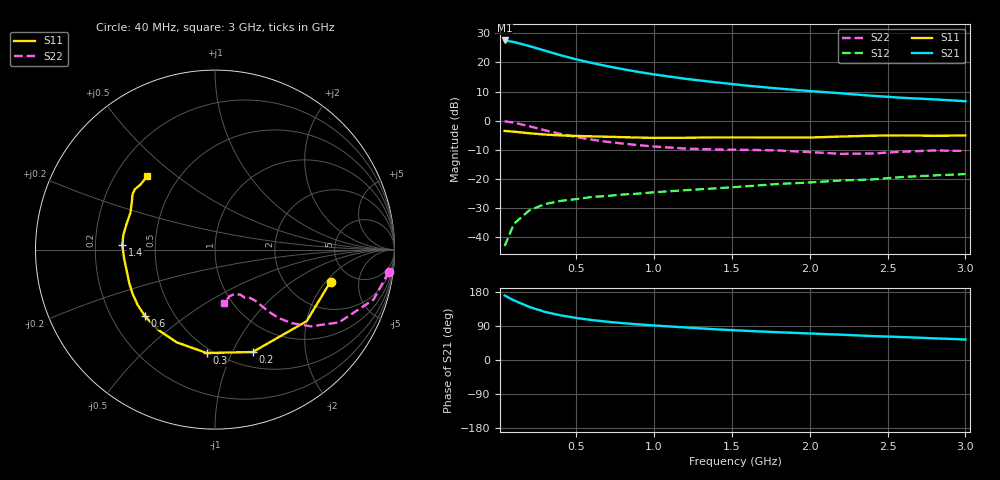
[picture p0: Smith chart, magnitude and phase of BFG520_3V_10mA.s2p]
! Filename:  BFG520C.S2P  Version:  2.1
! Philips part #: BFG520  Date: Feb 1992
! Bias condition: Vce=3V, Ic=10mA
! IN LINE PINNING: same data as with cross emitter pinning.
#  MHz  S  MA  R  50
! Freq  S11  S21  S12  S22  !GUM [dB]
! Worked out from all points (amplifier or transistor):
!   21 points, 40 MHz to 3 GHz, reference 50 ohm
!   highest |S21| = 27.6 dB at 40 MHz (marker M1)
!   |S21| within 3 dB of that: start of sweep to 267.5 MHz
!   unconditionally stable (mu >= 1): 1.261 GHz to end of sweep
!   at 300 MHz: K = 0.32, MSG = 26.3 dB, |S12| = -28.6 dB
!   at 1 GHz: K = 0.88, MSG = 20.2 dB, |S12| = -24.6 dB
!   at 3 GHz: K = 1.26, MAG = 9.5 dB, |S12| = -18.3 dB
!   lowest NFmin = 1.10 dB at 500 MHz
!   S11 on the Smith chart (normalised r, x): 40 MHz: 3.49, -2.25; 200 MHz: 0.66, -1.20; 300 MHz: 0.47, -0.81; 600 MHz: 0.34, -0.36; 1.4 GHz: 0.32, +0.02; 3 GHz: 0.33, +0.40
40  0.668 -15.5  23.88 170.3  0.007 81.8  0.977 -7.2
100  0.648 -38.0  22.43 157.3  0.017 73.4  0.926 -17.5
200  0.608 -69.8  19.09 139.8  0.029 61.1  0.801 -30.4
300  0.578 -94.6  15.94 126.9  0.037 53.9  0.684 -38.7
400  0.559 -112.5  13.29 117.8  0.042 50.3  0.592 -43.8
500  0.548 -126.0  11.32 110.9  0.045 47.5  0.524 -46.9
600  0.538 -136.3  9.809 105.5  0.049 46.9  0.473 -48.6
700  0.53 -144.3  8.626 101.0  0.051 47.1  0.434 -49.7
800  0.521 -151.7  7.669 97.2  0.054 47.8  0.405 -50.4
900  0.513 -158.5  6.874 93.9  0.056 49.0  0.38 -51.1
1000  0.507 -164.4  6.235 91.1  0.059 50.2  0.36 -51.9
1200  0.509 -174.9  5.249 85.9  0.064 51.5  0.332 -54.1
1400  0.517 177.1  4.552 80.9  0.069 53.0  0.32 -56.9
1600  0.517 170.7  3.987 76.8  0.075 56.2  0.316 -58.3
1800  0.513 163.7  3.566 73.2  0.082 57.1  0.308 -58.9
2000  0.514 156.4  3.228 70.0  0.087 59.0  0.289 -60.4
2200  0.534 150.2  2.952 66.8  0.094 59.6  0.27 -65.9
2400  0.553 146.2  2.68 63.2  0.098 61.3  0.273 -73.3
2600  0.559 143.0  2.469 60.5  0.108 61.9  0.294 -78.0
2800  0.551 138.8  2.324 57.2  0.115 61.5  0.308 -79.1
3000  0.557 132.8  2.162 54.2  0.121 62.8  0.302 -80.1
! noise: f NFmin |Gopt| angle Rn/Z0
500  1.1  0.26  27  0.22
900  1.25  0.231  54  0.22
1000  1.3  0.24  58  0.24
2000  1.9  0.245  148  0.14
